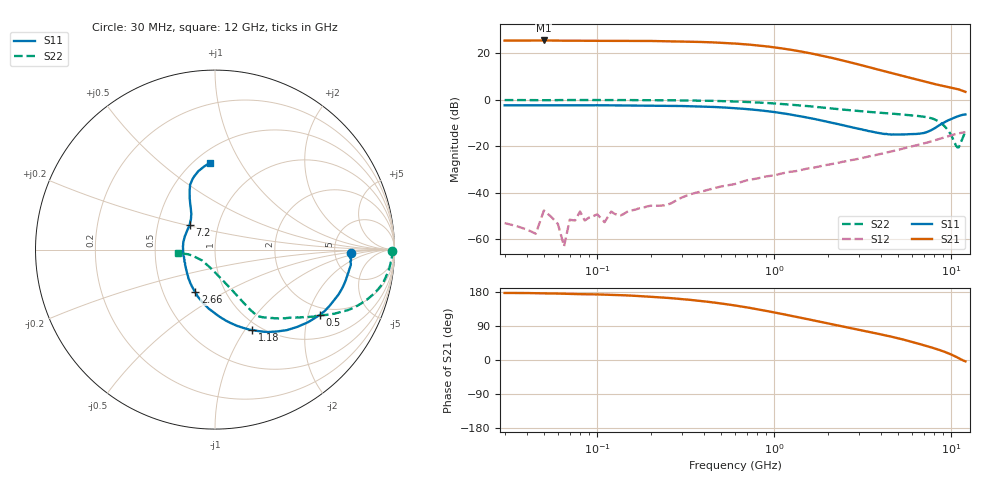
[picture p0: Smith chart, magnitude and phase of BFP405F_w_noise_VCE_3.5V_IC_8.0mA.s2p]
! Infineon Technologies  Discrete & RF Semiconductors
! BFP405F
! VCE =  3.5 V,  IC =  8.0 mA
! Common Emitter S-Parameters:  Nov 2015
# GHz  S  MA  R  50
!  f  S11  S21  S12  S22
! GHz  MAG  ANG  MAG  ANG  MAG  ANG  MAG  ANG
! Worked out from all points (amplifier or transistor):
!   239 points, 30 MHz to 12 GHz, reference 50 ohm
!   highest |S21| = 25.5 dB at 50 MHz (marker M1)
!   |S21| within 3 dB of that: start of sweep to 1.007 GHz
!   unconditionally stable (mu >= 1): 64.51 MHz to 65.5 MHz; 2.544 GHz to end of sweep
!   at 300 MHz: K = 0.14, MSG = 33.6 dB, |S12| = -42.2 dB
!   at 1.88 GHz: K = 0.80, MSG = 23.6 dB, |S12| = -28.4 dB
!   at 12 GHz: K = 1.41, MAG = 4.9 dB, |S12| = -14.0 dB
!   lowest NFmin = 1.52 dB at 450 MHz
!   S11 on the Smith chart (normalised r, x): 30 MHz: 7.23, -0.72; 500 MHz: 1.71, -2.37; 1.18 GHz: 0.91, -1.08; 2.66 GHz: 0.72, -0.37; 7.2 GHz: 0.73, +0.21; 12 GHz: 0.60, +0.75
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0.03  0.7592 -1.6  18.79 176.9  0.0022 85.0  0.9843 -0.6
0.045  0.7561 -2.9  18.86 176.2  0.0013 -49.1  0.981 -1.0
0.05  0.7541 -3.4  18.93 175.7  0.0041 -56.6  0.9774 -1.4
0.06  0.7595 -3.9  18.73 175.3  0.0021 -82.9  0.9841 -1.4
0.065  0.7598 -4.3  18.72 174.8  0.0007 10.8  0.985 -1.7
0.07  0.7602 -4.6  18.71 174.2  0.0026 64.5  0.986 -1.9
0.085  0.7587 -5.5  18.65 173.6  0.0025 19.4  0.9865 -2.2
0.14  0.7547 -9.4  18.56 171.0  0.0034 76.8  0.9855 -3.9
0.24  0.7427 -16.0  18.24 164.5  0.0053 86.8  0.9751 -6.7
0.36  0.7191 -23.6  17.69 157.2  0.0099 79.7  0.9602 -10.0
0.5  0.6875 -32.1  16.87 149.2  0.0135 76.7  0.9357 -13.6
0.6  0.6579 -37.9  16.23 143.7  0.0153 75.8  0.9158 -15.8
0.9  0.5707 -53.1  14.16 129.5  0.0223 71.1  0.8535 -21.5
1.18  0.494 -65.3  12.29 118.9  0.0273 67.8  0.7944 -25.6
1.64  0.3929 -82.6  9.819 105.2  0.0341 65.4  0.714 -30.7
2.18  0.3113 -100.8  7.759 93.0  0.042 63.7  0.641 -35.9
2.66  0.262 -114.8  6.445 84.8  0.049 62.2  0.5942 -39.5
3.4  0.2118 -135.2  5.065 74.4  0.0594 60.8  0.548 -44.3
4.5  0.1796 -163.3  3.832 62.4  0.0757 58.3  0.5066 -49.1
7.2  0.1985 135.3  2.411 37.2  0.1178 49.3  0.4226 -58.0
10.8  0.4348 104.0  1.699 6.7  0.1862 30.7  0.0945 -121.6
12  0.482 93.2  1.481 -3.6  0.2002 23.9  0.2043 -174.8
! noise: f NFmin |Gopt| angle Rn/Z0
0.45  1.52  0.27  6  0.33
0.9  1.54  0.24  12  0.32
1.5  1.6  0.23  17  0.29
1.9  1.63  0.21  23  0.3
2.4  1.77  0.2  31  0.33
3  1.84  0.18  45  0.31
3.5  1.9  0.16  52  0.3
4.5  2.05  0.13  55  0.2
5.5  2.24  0.07  59  0.06
